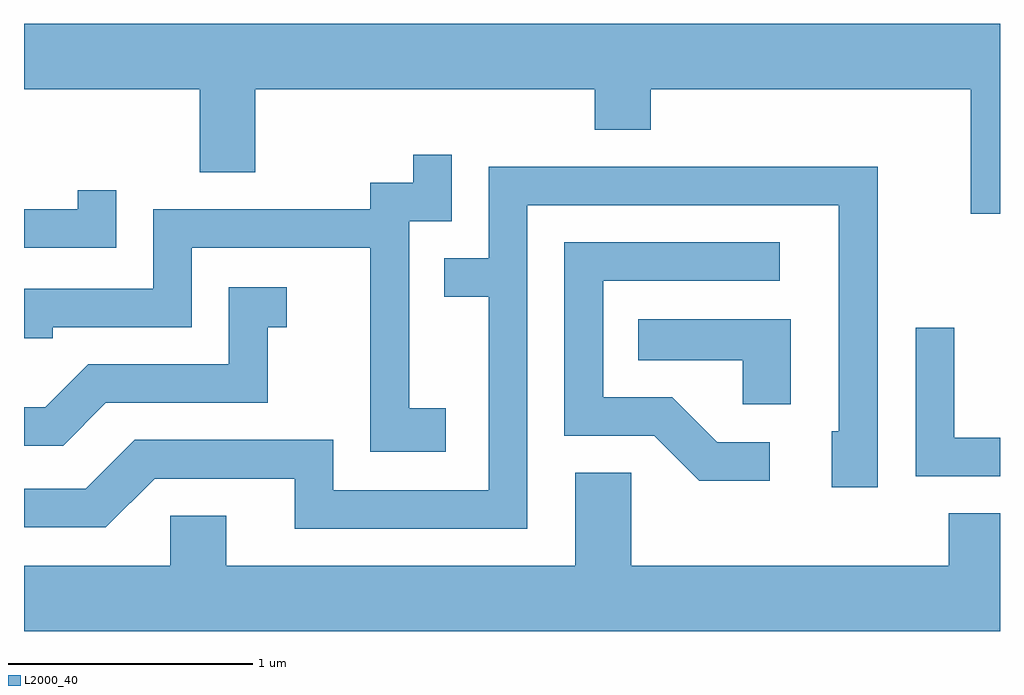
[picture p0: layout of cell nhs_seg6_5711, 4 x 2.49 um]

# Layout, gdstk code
import gdstk
lib = gdstk.Library(unit=1e-6, precision=1e-09)
def P(c, l, *ps):  # polygons
    for p in ps: c.add(gdstk.Polygon(p, *l))
L2000_40 = (2000, 40)

nhs_seg6_5711 = lib.new_cell('nhs_seg6_5711')
P(nhs_seg6_5711, L2000_40, [(363.611,1541.424),(359.611,1541.424),(359.611,1541.156),(360.331,1541.156),(360.331,1540.816),(360.559,1540.816),(360.559,1541.156),(361.951,1541.156),(361.951,1540.991),(362.179,1540.991),(362.179,1541.156),(363.491,1541.156),(363.491,1540.646),(363.611,1540.646)],
  [(361.339,1539.849),(361.189,1539.849),(361.189,1540.616),(361.364,1540.616),(361.364,1540.888),(361.206,1540.888),(361.206,1540.774),(361.031,1540.774),(361.031,1540.664),(360.141,1540.664),(360.141,1540.339),(359.611,1540.339),(359.611,1540.136),(359.729,1540.136),(359.729,1540.181),(360.299,1540.181),(360.299,1540.506),(361.031,1540.506),(361.031,1539.671),(361.339,1539.671)],
  [(361.674,1540.681),(362.951,1540.681),(362.951,1539.754),(362.921,1539.754),(362.921,1539.526),(363.109,1539.526),(363.109,1540.839),(361.516,1540.839),(361.516,1540.464),(361.333,1540.464),(361.333,1540.306),(361.516,1540.306),(361.516,1539.514),(360.879,1539.514),(360.879,1539.719),(360.064,1539.719),(359.864,1539.519),(359.611,1539.519),(359.611,1539.361),(359.947,1539.361),(360.147,1539.561),(360.721,1539.561),(360.721,1539.356),(361.674,1539.356)],
  [(359.989,1540.743),(359.831,1540.743),(359.831,1540.664),(359.611,1540.664),(359.611,1540.506),(359.989,1540.506)],
  [(362.668,1539.709),(362.452,1539.709),(362.267,1539.894),(361.984,1539.894),(361.984,1540.371),(362.708,1540.371),(362.708,1540.529),(361.826,1540.529),(361.826,1539.736),(362.194,1539.736),(362.379,1539.551),(362.668,1539.551)],
  [(359.947,1539.871),(360.609,1539.871),(360.609,1540.181),(360.688,1540.181),(360.688,1540.344),(360.451,1540.344),(360.451,1540.029),(359.874,1540.029),(359.699,1539.854),(359.611,1539.854),(359.611,1539.696),(359.772,1539.696)],
  [(362.754,1540.214),(362.128,1540.214),(362.128,1540.046),(362.556,1540.046),(362.556,1539.866),(362.754,1539.866)],
  [(363.611,1539.729),(363.424,1539.729),(363.424,1540.178),(363.266,1540.178),(363.266,1539.571),(363.611,1539.571)],
  [(363.611,1539.419),(363.401,1539.419),(363.401,1539.204),(362.099,1539.204),(362.099,1539.584),(361.871,1539.584),(361.871,1539.204),(360.439,1539.204),(360.439,1539.409),(360.211,1539.409),(360.211,1539.204),(359.611,1539.204),(359.611,1538.936),(363.611,1538.936)])

lib.write_gds('nhs_seg6_5711.gds')
